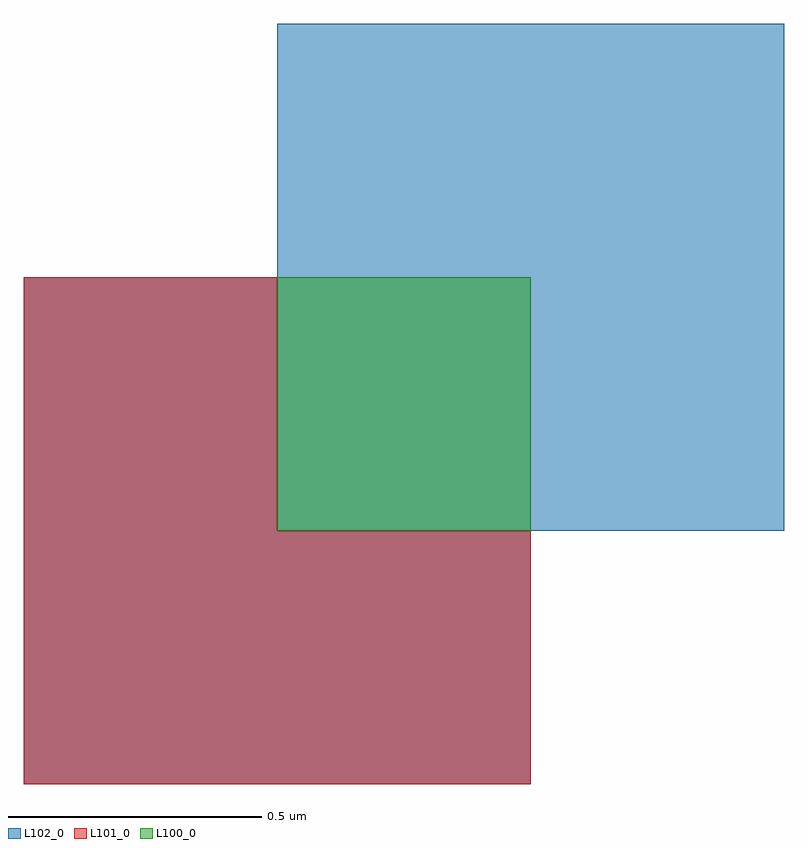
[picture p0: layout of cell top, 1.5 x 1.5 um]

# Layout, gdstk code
import gdstk
lib = gdstk.Library(unit=1e-6, precision=1e-09)
def R(c, l, rs):  # rectangles x0, y0, x1, y1
    for r in rs: c.add(gdstk.rectangle(r[:2], r[2:], *l))
L100_0 = (100, 0)
L101_0 = (101, 0)
L102_0 = (102, 0)

top = lib.new_cell('top')
R(top, L100_0, [(0.5,0.5,1,1)])
R(top, L101_0, [(0,0,1,0.5), (0,0.5,0.5,1)])
R(top, L102_0, [(0,0,1,0.5), (0,0.5,1.5,1), (0.5,1,1.5,1.5)])

lib.write_gds('top.gds')
